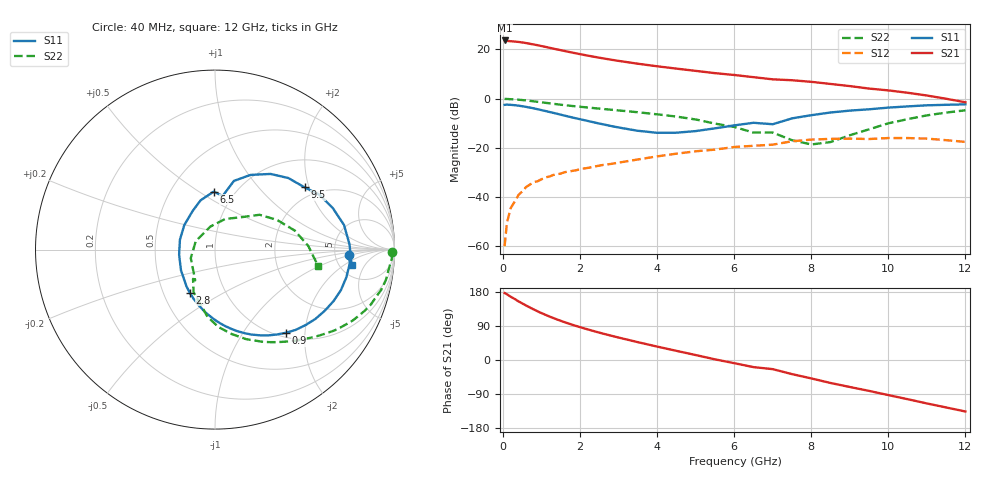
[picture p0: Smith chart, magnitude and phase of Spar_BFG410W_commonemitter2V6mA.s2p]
! Filename: 26bfg410.001
! BFG410W Field B1
! V1=8.628E-001V,V2=2.000E+000V, I1=8.981E-005A, I2=6.000E-003A
# GHz  S  MA  R 50
!  S11  S21  S12  S22
!Freq(GHz)  Mag  Ang  Mag  Ang  Mag  Ang  Mag  Ang
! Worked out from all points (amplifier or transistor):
!   44 points, 40 MHz to 12 GHz, reference 50 ohm
!   highest |S21| = 23.7 dB at 40 MHz (marker M1)
!   |S21| within 3 dB of that: start of sweep to 1.213 GHz
!   unconditionally stable (mu >= 1): 2.363 GHz to end of sweep
!   at 700 MHz: K = 0.37, MSG = 28.6 dB, |S12| = -34.9 dB
!   at 2.4 GHz: K = 1.01, MAG = 21.6 dB, |S12| = -27.5 dB
!   at 12 GHz: K = 1.56, MAG = 3.7 dB, |S12| = -17.6 dB
!   lowest NFmin = 1.30 dB at 900 MHz
!   S11 on the Smith chart (normalised r, x): 40 MHz: 6.78, -1.01; 900 MHz: 1.08, -1.60; 2.8 GHz: 0.68, -0.35; 6.5 GHz: 0.80, +0.58; 9.5 GHz: 1.70, +1.87; 12 GHz: 6.43, -2.65
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0.04  0.748 -2.5  15.26 176.7  0.001 69.5  0.987 -0.9
0.1  0.755 -5.9  14.98 173.4  0.003 89.2  0.986 -3.0
0.2  0.748 -11.9  14.7 166.8  0.006 82.1  0.973 -6.9
0.3  0.737 -17.9  14.51 161.1  0.008 80.7  0.967 -10.1
0.4  0.72 -23.5  14.24 154.8  0.011 76.6  0.953 -13.6
0.5  0.7 -29.2  13.89 149.2  0.013 72.5  0.935 -16.4
0.7  0.657 -39.8  13.04 138.3  0.018 67.1  0.9 -22.3
0.9  0.609 -49.6  12.19 128.3  0.021 62.6  0.862 -27.4
1.2  0.537 -62.7  10.86 114.9  0.026 57.4  0.805 -34.0
1.5  0.472 -74.6  9.66 103.2  0.03 53.5  0.753 -39.5
1.8  0.414 -85.5  8.628 92.9  0.034 50.7  0.709 -44.5
2.2  0.352 -99.2  7.498 80.7  0.039 47.7  0.66 -50.7
2.8  0.278 -120.4  6.203 64.2  0.047 43.7  0.596 -59.9
3.5  0.222 -148.6  5.132 47.0  0.058 38.1  0.529 -70.7
4.5  0.203 164.3  4.08 24.2  0.076 27.4  0.432 -87.4
5.5  0.249 119.9  3.301 1.7  0.092 13.1  0.311 -105.5
6.5  0.323 91.3  2.734 -18.8  0.11 -0.1  0.204 -126.9
8  0.461 64.5  2.198 -48.6  0.147 -20.9  0.117 156.3
8.5  0.523 53.7  1.991 -60.6  0.152 -33.3  0.131 101.2
9.5  0.608 34.8  1.603 -81.5  0.151 -53.0  0.238 49.6
10.5  0.696 19.4  1.317 -103.4  0.158 -73.5  0.383 25.6
12  0.766 -6.4  0.844 -135.9  0.132 -111.5  0.58 -8.8
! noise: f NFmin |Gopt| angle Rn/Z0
0.9  1.3  0.28  11  0.3
2  1.6  0.25  33.7  0.34
